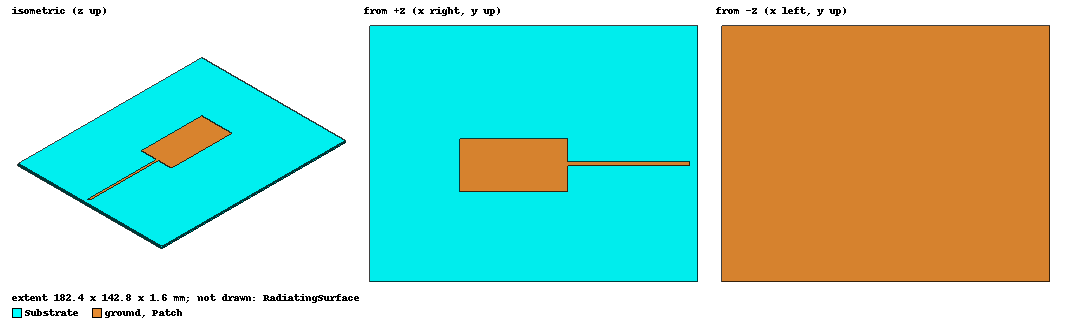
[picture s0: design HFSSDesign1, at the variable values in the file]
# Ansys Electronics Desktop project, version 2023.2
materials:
  vacuum: permittivity=1
  FR4_epoxy: permittivity=4.4 dielectric_loss_tangent=0.02

design HFSSDesign1 (HFSS, HFSS Modal Network, model units mm)
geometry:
  ground = rectangle(corner=(0mm, 0mm, 0mm), x_size=182.4mm, y_size=142.8mm)
  Substrate [FR4_epoxy] = box(corner=(0mm, 0mm, 0mm), size=(182.4mm, 142.8mm, 1.6mm))
  Feed = rectangle(corner=(108mm, 65mm, 1.6mm), x_size=70mm, y_size=2mm)
  Patch = rectangle(corner=(50mm, 50mm, 1.6mm), x_size=60mm, y_size=30mm)
  Patch.unite(Feed)
  Port = rectangle(corner=(108mm, 50mm, 1.6mm), y_size=27mm, z_size=-1.6mm)
  RadiatingSurface [vacuum] = region(absolute_offset=40.816327mm on all sides)
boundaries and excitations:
  PerfE1: Perfect E Objects=Patch
  PerfE2: Perfect E Objects=ground
  Open1: Radiation Objects=RadiatingSurface
  1: Lumped Port Objects=Port LumpedPortType=Modal Modes{Mode1{IntLine{(108, 63.5, 0) -> (108, 63.5, 1.6)} CharImp=Zpi RenormImp=50ohm}} Impedance=50ohm
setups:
  Setup1: HfssDriven Frequency=2.45GHz MaxDeltaS=0.02 MaximumPasses=10 MinimumPasses=1 MinimumConvergedPasses=1 PercentRefinement=30 BasisOrder=1 PortAccuracy=2 DrivenSolverType="Direct Solver"
    sweep Sweep: 1GHz to 5GHz, 401 points; Type=Interpolating InterpTolerance=0.5 InterpMaxSolns=250 InterpUsePortImped=false PassivityErrorTolerance=0.0001
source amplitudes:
  1:1: 1W 0deg
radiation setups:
  3D: Infinite Sphere Theta=0deg..180deg step 2deg Phi=-180deg..180deg step 2deg
  Elevation: Infinite Sphere Theta=-180deg..180deg step 1deg Phi=0deg..90deg step 90deg
  Azimuth: Infinite Sphere Theta=90deg..90deg step 0deg Phi=-180deg..180deg step 1deg
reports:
  S Parameter Plot 1: dB(S(1,1)) vs Freq on Setup1 : Sweep
  Gain Plot 1: dB(GainTotal) vs Phi, Theta on Setup1 : LastAdaptive, 3D [Freq=2.45GHz]
